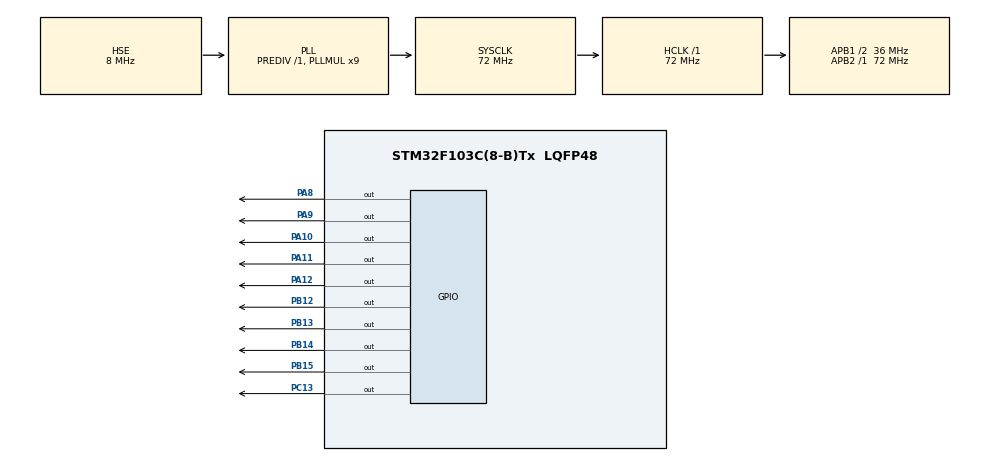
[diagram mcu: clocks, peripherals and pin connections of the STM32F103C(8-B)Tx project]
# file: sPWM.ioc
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Mcu.Family=STM32F1
Mcu.Name=STM32F103C(8-B)Tx
Mcu.Package=LQFP48
NVIC.PriorityGroup=NVIC_PRIORITYGROUP_4
NVIC.TIM2_IRQn=true\:0\:0\:false\:false\:true\:true\:true\:true
PA10.GPIO_Speed=GPIO_SPEED_FREQ_HIGH
PA10.Signal=GPIO_Output
PA11.GPIO_Speed=GPIO_SPEED_FREQ_HIGH
PA11.Signal=GPIO_Output
PA12.GPIO_Speed=GPIO_SPEED_FREQ_HIGH
PA12.Signal=GPIO_Output
PA8.GPIO_Speed=GPIO_SPEED_FREQ_HIGH
PA8.Signal=GPIO_Output
PA9.GPIO_Speed=GPIO_SPEED_FREQ_HIGH
PA9.Signal=GPIO_Output
PB12.GPIO_Speed=GPIO_SPEED_FREQ_HIGH
PB12.Signal=GPIO_Output
PB13.GPIO_Speed=GPIO_SPEED_FREQ_HIGH
PB13.Signal=GPIO_Output
PB14.GPIO_Speed=GPIO_SPEED_FREQ_HIGH
PB14.Signal=GPIO_Output
PB15.GPIO_Speed=GPIO_SPEED_FREQ_HIGH
PB15.Signal=GPIO_Output
PC13-TAMPER-RTC.GPIO_Speed=GPIO_SPEED_FREQ_HIGH
PC13-TAMPER-RTC.Signal=GPIO_Output
PD0-OSC_IN.Mode=HSE-External-Oscillator
PD0-OSC_IN.Signal=RCC_OSC_IN
PD1-OSC_OUT.Mode=HSE-External-Oscillator
PD1-OSC_OUT.Signal=RCC_OSC_OUT
ProjectManager.HeapSize=0x200
ProjectManager.StackSize=0x400
ProjectManager.TargetToolchain=STM32CubeIDE
RCC.AHBFreq_Value=72000000
RCC.APB1CLKDivider=RCC_HCLK_DIV2
RCC.APB1Freq_Value=36000000
RCC.APB1TimFreq_Value=72000000
RCC.APB2Freq_Value=72000000
RCC.APB2TimFreq_Value=72000000
RCC.HCLKFreq_Value=72000000
RCC.PLLMUL=RCC_PLL_MUL9
RCC.PLLSourceVirtual=RCC_PLLSOURCE_HSE
RCC.SYSCLKFreq_VALUE=72000000
RCC.SYSCLKSource=RCC_SYSCLKSOURCE_PLLCLK
RCC.USBFreq_Value=72000000
TIM2.AutoReloadPreload=TIM_AUTORELOAD_PRELOAD_ENABLE
TIM2.Period=0
TIM2.Prescaler=1
VP_TIM2_VS_ClockSourceINT.Mode=Internal
board=custom

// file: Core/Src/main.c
/* USER CODE BEGIN Header */
/**
  ******************************************************************************
  * @file           : main.c
  * @brief          : Main program body
  ******************************************************************************
  * @attention
  *
  * Copyright (c) 2023 STMicroelectronics.
  * All rights reserved.
  *
  * This software is licensed under terms that can be found in the LICENSE file
  * in the root directory of this software component.
  * If no LICENSE file comes with this software, it is provided AS-IS.
  *
  ******************************************************************************
  */
/* USER CODE END Header */
#include "main.h"

/* USER CODE BEGIN Includes */
#include <stdint.h>
#include <math.h>
/* USER CODE END Includes */

/* USER CODE BEGIN PD */

#define SINUSOID_FREQUENCY          60    						//Frequência da onda senoidal
#define TRIANGULAR_FREQUENCY        3000   						//Frequência da portadora triangular
#define SWITCHING_FREQUENCY         12000  	//Frequência de chaveamento
#define SAMPLING_FREQUENCY          60000 		//Frequência de amostragem
#define MICROCONTROLLER_FREQUENCY   72000000 					//Frequência do microcontrolador

#define SAMPLES_PERIODS_IN_AN_SINUSOID_PERIOD (uint32_t)(SAMPLING_FREQUENCY/SINUSOID_FREQUENCY)

#define S1_BIT 0
#define S2_BIT 1
#define S3_BIT 2
#define S4_BIT 3

/* USER CODE END PD */

TIM_HandleTypeDef htim2;

/* USER CODE BEGIN PV */
volatile uint8_t pinsStates[SAMPLES_PERIODS_IN_AN_SINUSOID_PERIOD];

/* USER CODE END PV */

void SystemClock_Config(void);
static void MX_GPIO_Init(void);
static void MX_TIM2_Init(void);

/* USER CODE BEGIN 0 */

float triangular(double t, float c, float frequency){
  while(t > 1.0/frequency) t -= 1.0/frequency;

  if(t < 1.0/(frequency*2)) return  c * (t * frequency/2);
  else return c - c * ((t - 1.0/(frequency*2)) * frequency/2);
}

volatile uint64_t i;
void HAL_TIM_PeriodElapsedCallback(TIM_HandleTypeDef* htim)
{
    if(htim == &htim2){
//    	HAL_GPIO_TogglePin(GPIOA, GPIO_PIN_8);

    	HAL_GPIO_WritePin(GPIOB, GPIO_PIN_14, pinsStates[i] & (1 << S1_BIT));
    	HAL_GPIO_WritePin(GPIOA, GPIO_PIN_10, pinsStates[i] & (1 << S2_BIT));
    	HAL_GPIO_WritePin(GPIOA, GPIO_PIN_11, pinsStates[i] & (1 << S3_BIT));
    	HAL_GPIO_WritePin(GPIOA, GPIO_PIN_12, pinsStates[i] & (1 << S4_BIT));

    	i = (i + 1) % (SAMPLES_PERIODS_IN_AN_SINUSOID_PERIOD);
    }
}
/* USER CODE END 0 */

int main(void)
{

  /* MCU Configuration--------------------------------------------------------*/

  /* Reset of all peripherals, Initializes the Flash interface and the Systick. */
  HAL_Init();

  /* Configure the system clock */
  SystemClock_Config();

  /* Initialize all configured peripherals */
  MX_GPIO_Init();
  MX_TIM2_Init();
  /* USER CODE BEGIN 2 */

  /*  Pinos:
 *   PB12 -> S1
 *   PB13 -> S2
 *   PB14 -> S3
 *   PB15 -> S4
 */

  HAL_GPIO_WritePin(GPIOC, GPIO_PIN_13, 0);
  HAL_GPIO_WritePin(GPIOA, GPIO_PIN_8 | GPIO_PIN_9 |  GPIO_PIN_10 |  GPIO_PIN_11, 1);
  HAL_GPIO_WritePin(GPIOB, GPIO_PIN_12|GPIO_PIN_13|GPIO_PIN_14|GPIO_PIN_15, 1);

  float ySinusoid, yTriangular;

  double tUs;
  uint8_t actualPinStates = 0;
  uint8_t deadTime = 2;
  for(i = 0; i < SAMPLES_PERIODS_IN_AN_SINUSOID_PERIOD; i ++){
	  if((i % (uint64_t)(SAMPLING_FREQUENCY/SWITCHING_FREQUENCY)) == 0){
		  tUs = i*1.0e6/SAMPLING_FREQUENCY;

		  ySinusoid = sin(2*M_PI*tUs*SINUSOID_FREQUENCY/(1e6));
		  yTriangular = triangular(tUs/1e6, 1.0, TRIANGULAR_FREQUENCY);

		  if(tUs < 1e6/(SINUSOID_FREQUENCY*2)){
			  yTriangular = triangular(tUs/1e6, 1.0, TRIANGULAR_FREQUENCY);

			  if(ySinusoid > yTriangular) actualPinStates = (0 << S4_BIT) | (0 << S3_BIT) | (1 << S2_BIT) | (1 << S1_BIT);
			  else actualPinStates = (0 << S4_BIT) | (0 << S3_BIT) | (0 << S2_BIT) | (0 << S1_BIT);
		  }
		  else{

			  yTriangular = triangular(tUs/1e6 - 1.0/(TRIANGULAR_FREQUENCY*2), 1.0, TRIANGULAR_FREQUENCY);

			  if(-ySinusoid > yTriangular) actualPinStates = (1 << S4_BIT) | (1 << S3_BIT) | (0 << S2_BIT) | (0 << S1_BIT);
			  else actualPinStates = (0 << S4_BIT) | (0 << S3_BIT) | (0 << S2_BIT) | (0 << S1_BIT);
		  }

		  deadTime = 2;
	  }

	  if(deadTime > 0){
		  if(tUs < 1e6/(SINUSOID_FREQUENCY*2)){
			  if(actualPinStates & (1 << S1_BIT)) pinsStates[i] = (actualPinStates & (0 << S1_BIT));
			  else if(actualPinStates & S2_BIT) pinsStates[i] = (actualPinStates & (0 << S2_BIT));
		  }
		  else{
			  if(actualPinStates & S3_BIT) pinsStates[i] = (actualPinStates & (0 << S3_BIT));
			  else if(actualPinStates & S4_BIT) pinsStates[i] = (actualPinStates & (0 << S4_BIT));
		  }

		  deadTime--;
	  }
	  else pinsStates[i] = actualPinStates;

  }

  i = 0;

  htim2.Instance = TIM2;
  htim2.Init.Prescaler = 1;
  htim2.Init.CounterMode = TIM_COUNTERMODE_UP;
  htim2.Init.Period = (uint32_t)(MICROCONTROLLER_FREQUENCY/SAMPLING_FREQUENCY/2);
  htim2.Init.ClockDivision = TIM_CLOCKDIVISION_DIV1;
  htim2.Init.AutoReloadPreload = TIM_AUTORELOAD_PRELOAD_ENABLE;
  if (HAL_TIM_Base_Init(&htim2) != HAL_OK)
  {
	  Error_Handler();
  }

  HAL_TIM_Base_Start_IT(&htim2);

  /* USER CODE END 2 */

  /* Infinite loop */
  while (1)
  {

  }
}

void SystemClock_Config(void)
{
  RCC_OscInitTypeDef RCC_OscInitStruct = {0};
  RCC_ClkInitTypeDef RCC_ClkInitStruct = {0};

  /** Initializes the RCC Oscillators according to the specified parameters
  * in the RCC_OscInitTypeDef structure.
  */
  RCC_OscInitStruct.OscillatorType = RCC_OSCILLATORTYPE_HSE;
  RCC_OscInitStruct.HSEState = RCC_HSE_ON;
  RCC_OscInitStruct.HSEPredivValue = RCC_HSE_PREDIV_DIV1;
  RCC_OscInitStruct.HSIState = RCC_HSI_ON;
  RCC_OscInitStruct.PLL.PLLState = RCC_PLL_ON;
  RCC_OscInitStruct.PLL.PLLSource = RCC_PLLSOURCE_HSE;
  RCC_OscInitStruct.PLL.PLLMUL = RCC_PLL_MUL9;
  if (HAL_RCC_OscConfig(&RCC_OscInitStruct) != HAL_OK)
  {
    Error_Handler();
  }

  /** Initializes the CPU, AHB and APB buses clocks
  */
  RCC_ClkInitStruct.ClockType = RCC_CLOCKTYPE_HCLK|RCC_CLOCKTYPE_SYSCLK
                              |RCC_CLOCKTYPE_PCLK1|RCC_CLOCKTYPE_PCLK2;
  RCC_ClkInitStruct.SYSCLKSource = RCC_SYSCLKSOURCE_PLLCLK;
  RCC_ClkInitStruct.AHBCLKDivider = RCC_SYSCLK_DIV1;
  RCC_ClkInitStruct.APB1CLKDivider = RCC_HCLK_DIV2;
  RCC_ClkInitStruct.APB2CLKDivider = RCC_HCLK_DIV1;

  if (HAL_RCC_ClockConfig(&RCC_ClkInitStruct, FLASH_LATENCY_2) != HAL_OK)
  {
    Error_Handler();
  }
}

static void MX_TIM2_Init(void)
{

  TIM_ClockConfigTypeDef sClockSourceConfig = {0};
  TIM_MasterConfigTypeDef sMasterConfig = {0};

  htim2.Instance = TIM2;
  htim2.Init.Prescaler = 1;
  htim2.Init.CounterMode = TIM_COUNTERMODE_UP;
  htim2.Init.Period = 0;
  htim2.Init.ClockDivision = TIM_CLOCKDIVISION_DIV1;
  htim2.Init.AutoReloadPreload = TIM_AUTORELOAD_PRELOAD_ENABLE;
  if (HAL_TIM_Base_Init(&htim2) != HAL_OK)
  {
    Error_Handler();
  }
  sClockSourceConfig.ClockSource = TIM_CLOCKSOURCE_INTERNAL;
  if (HAL_TIM_ConfigClockSource(&htim2, &sClockSourceConfig) != HAL_OK)
  {
    Error_Handler();
  }
  sMasterConfig.MasterOutputTrigger = TIM_TRGO_RESET;
  sMasterConfig.MasterSlaveMode = TIM_MASTERSLAVEMODE_DISABLE;
  if (HAL_TIMEx_MasterConfigSynchronization(&htim2, &sMasterConfig) != HAL_OK)
  {
    Error_Handler();
  }

}

static void MX_GPIO_Init(void)
{
  GPIO_InitTypeDef GPIO_InitStruct = {0};

  /* GPIO Ports Clock Enable */
  __HAL_RCC_GPIOC_CLK_ENABLE();
  __HAL_RCC_GPIOD_CLK_ENABLE();
  __HAL_RCC_GPIOB_CLK_ENABLE();
  __HAL_RCC_GPIOA_CLK_ENABLE();

  /*Configure GPIO pin Output Level */
  HAL_GPIO_WritePin(GPIOC, GPIO_PIN_13, GPIO_PIN_RESET);

  /*Configure GPIO pin Output Level */
  HAL_GPIO_WritePin(GPIOB, GPIO_PIN_12|GPIO_PIN_13|GPIO_PIN_14|GPIO_PIN_15, GPIO_PIN_RESET);

  /*Configure GPIO pin Output Level */
  HAL_GPIO_WritePin(GPIOA, GPIO_PIN_8|GPIO_PIN_9|GPIO_PIN_10|GPIO_PIN_11
                          |GPIO_PIN_12, GPIO_PIN_RESET);

  /*Configure GPIO pin : PC13 */
  GPIO_InitStruct.Pin = GPIO_PIN_13;
  GPIO_InitStruct.Mode = GPIO_MODE_OUTPUT_PP;
  GPIO_InitStruct.Pull = GPIO_NOPULL;
  GPIO_InitStruct.Speed = GPIO_SPEED_FREQ_HIGH;
  HAL_GPIO_Init(GPIOC, &GPIO_InitStruct);

  /*Configure GPIO pins : PB12 PB13 PB14 PB15 */
  GPIO_InitStruct.Pin = GPIO_PIN_12|GPIO_PIN_13|GPIO_PIN_14|GPIO_PIN_15;
  GPIO_InitStruct.Mode = GPIO_MODE_OUTPUT_PP;
  GPIO_InitStruct.Pull = GPIO_NOPULL;
  GPIO_InitStruct.Speed = GPIO_SPEED_FREQ_HIGH;
  HAL_GPIO_Init(GPIOB, &GPIO_InitStruct);

  /*Configure GPIO pins : PA8 PA9 PA10 PA11
                           PA12 */
  GPIO_InitStruct.Pin = GPIO_PIN_8|GPIO_PIN_9|GPIO_PIN_10|GPIO_PIN_11
                          |GPIO_PIN_12;
  GPIO_InitStruct.Mode = GPIO_MODE_OUTPUT_PP;
  GPIO_InitStruct.Pull = GPIO_NOPULL;
  GPIO_InitStruct.Speed = GPIO_SPEED_FREQ_HIGH;
  HAL_GPIO_Init(GPIOA, &GPIO_InitStruct);

}

void Error_Handler(void)
{
  __disable_irq();
  while (1)
  {
  }
}
